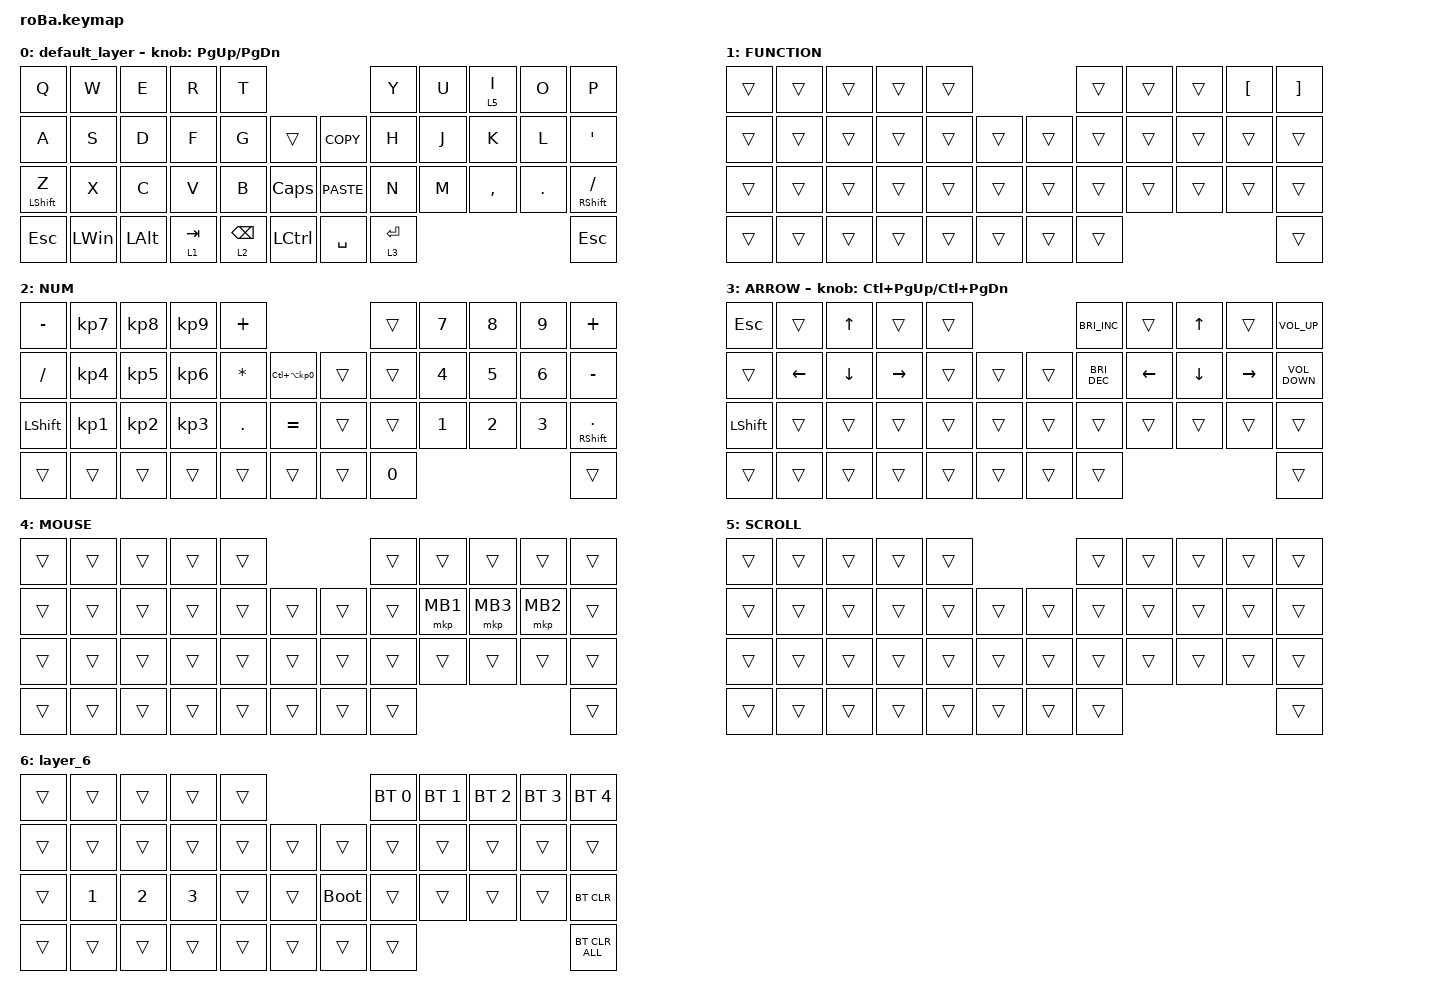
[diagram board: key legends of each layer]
#include <behaviors.dtsi>
#include <dt-bindings/zmk/bt.h>
#include <dt-bindings/zmk/keys.h>
#include <dt-bindings/zmk/pointing.h>

#define MOUSE 4
#define SCROLL 5
#define NUM 6

&mt {
    flavor = "balanced";
    quick-tap-ms = <0>;
};

/ {
    combos {
        compatible = "zmk,combos";

        MB1 {
            bindings = <&mkp MB1>;
            key-positions = <18 19>;
        };

        MB2 {
            bindings = <&mkp MB2>;
            key-positions = <19 20>;
        };
    };

    macros {
        to_layer_0: to_layer_0 {
            compatible = "zmk,behavior-macro-one-param";
            #binding-cells = <1>;
            bindings = <&to 0 &macro_param_1to1 &kp MACRO_PLACEHOLDER>;
            label = "TO_LAYER_0";
        };
    };

    behaviors {
        lt_to_layer_0: lt_to_layer_0 {
            compatible = "zmk,behavior-hold-tap";
            label = "LAYER_TAP_TO_0";
            bindings = <&mo>, <&to_layer_0>;

            #binding-cells = <2>;
            tapping-term-ms = <200>;
        };
    };

    keymap {
        compatible = "zmk,keymap";

        default_layer {
            bindings = <
&kp Q             &kp W         &kp E         &kp R                 &kp T                                        &kp Y        &kp U  &lt 5 I    &kp O    &kp P
&kp A             &kp S         &kp D         &kp F                 &kp G            &trans         &kp K_COPY   &kp H        &kp J  &kp K      &kp L    &kp SQT
&mt LEFT_SHIFT Z  &kp X         &kp C         &kp V                 &kp B            &kp CAPS       &kp K_PASTE  &kp N        &kp M  &kp COMMA  &kp DOT  &mt RIGHT_SHIFT SLASH
&kp ESCAPE        &kp LEFT_WIN  &kp LEFT_ALT  &lt_to_layer_0 1 TAB  &lt 2 BACKSPACE  &kp LCTRL      &kp SPACE    &lt 3 ENTER                             &kp ESCAPE
            >;

            sensor-bindings = <&inc_dec_kp PG_UP PAGE_DOWN>;
        };

        FUNCTION {
            bindings = <
&trans  &trans  &trans  &trans  &trans                      &trans  &trans  &trans  &kp LEFT_BRACKET  &kp RIGHT_BRACKET
&trans  &trans  &trans  &trans  &trans  &trans      &trans  &trans  &trans  &trans  &trans            &trans
&trans  &trans  &trans  &trans  &trans  &trans      &trans  &trans  &trans  &trans  &trans            &trans
&trans  &trans  &trans  &trans  &trans  &trans      &trans  &trans                                    &trans
            >;
        };

        NUM {
            bindings = <
&kp MINUS       &kp KP_NUMBER_7  &kp KP_NUMBER_8  &kp KP_NUMBER_9  &kp PLUS                                           &trans  &kp N7        &kp N8        &kp N9        &kp PLUS
&kp SLASH       &kp KP_NUMBER_4  &kp KP_NUMBER_5  &kp KP_NUMBER_6  &kp ASTERISK  &kp LC(LA(KP_NUMBER_0))      &trans  &trans  &kp NUMBER_4  &kp N5        &kp NUMBER_6  &kp MINUS
&kp LEFT_SHIFT  &kp KP_NUMBER_1  &kp KP_NUMBER_2  &kp KP_NUMBER_3  &kp PERIOD    &kp EQUAL                    &trans  &trans  &kp NUMBER_1  &kp NUMBER_2  &kp NUMBER_3  &mt RSHIFT PERIOD
&trans          &trans           &trans           &trans           &trans        &trans                       &trans  &kp N0                                            &trans
            >;
        };

        ARROW {
            bindings = <
&kp ESCAPE      &trans          &kp UP_ARROW    &trans           &trans                      &kp C_BRIGHTNESS_INC  &trans          &kp UP_ARROW    &trans           &kp C_VOLUME_UP
&trans          &kp LEFT_ARROW  &kp DOWN_ARROW  &kp RIGHT_ARROW  &trans  &trans      &trans  &kp C_BRIGHTNESS_DEC  &kp LEFT_ARROW  &kp DOWN_ARROW  &kp RIGHT_ARROW  &kp C_VOLUME_DOWN
&kp LEFT_SHIFT  &trans          &trans          &trans           &trans  &trans      &trans  &trans                &trans          &trans          &trans           &trans
&trans          &trans          &trans          &trans           &trans  &trans      &trans  &trans                                                                 &trans
            >;

            sensor-bindings = <&inc_dec_kp LC(PAGE_UP) LC(PAGE_DOWN)>;
        };

        MOUSE {
            bindings = <
&trans  &trans  &trans  &trans  &trans                      &trans  &trans    &trans    &trans    &trans
&trans  &trans  &trans  &trans  &trans  &trans      &trans  &trans  &mkp MB1  &mkp MB3  &mkp MB2  &trans
&trans  &trans  &trans  &trans  &trans  &trans      &trans  &trans  &trans    &trans    &trans    &trans
&trans  &trans  &trans  &trans  &trans  &trans      &trans  &trans                                &trans
            >;
        };

        SCROLL {
            bindings = <
&trans  &trans  &trans  &trans  &trans                      &trans  &trans  &trans  &trans  &trans
&trans  &trans  &trans  &trans  &trans  &trans      &trans  &trans  &trans  &trans  &trans  &trans
&trans  &trans  &trans  &trans  &trans  &trans      &trans  &trans  &trans  &trans  &trans  &trans
&trans  &trans  &trans  &trans  &trans  &trans      &trans  &trans                          &trans
            >;
        };

        layer_6 {
            bindings = <
&trans  &trans        &trans        &trans        &trans                           &bt BT_SEL 0  &bt BT_SEL 1  &bt BT_SEL 2  &bt BT_SEL 3  &bt BT_SEL 4
&trans  &trans        &trans        &trans        &trans  &trans      &trans       &trans        &trans        &trans        &trans        &trans
&trans  &kp NUMBER_1  &kp NUMBER_2  &kp NUMBER_3  &trans  &trans      &bootloader  &trans        &trans        &trans        &trans        &bt BT_CLR
&trans  &trans        &trans        &trans        &trans  &trans      &trans       &trans                                                  &bt BT_CLR_ALL
            >;
        };
    };
};
